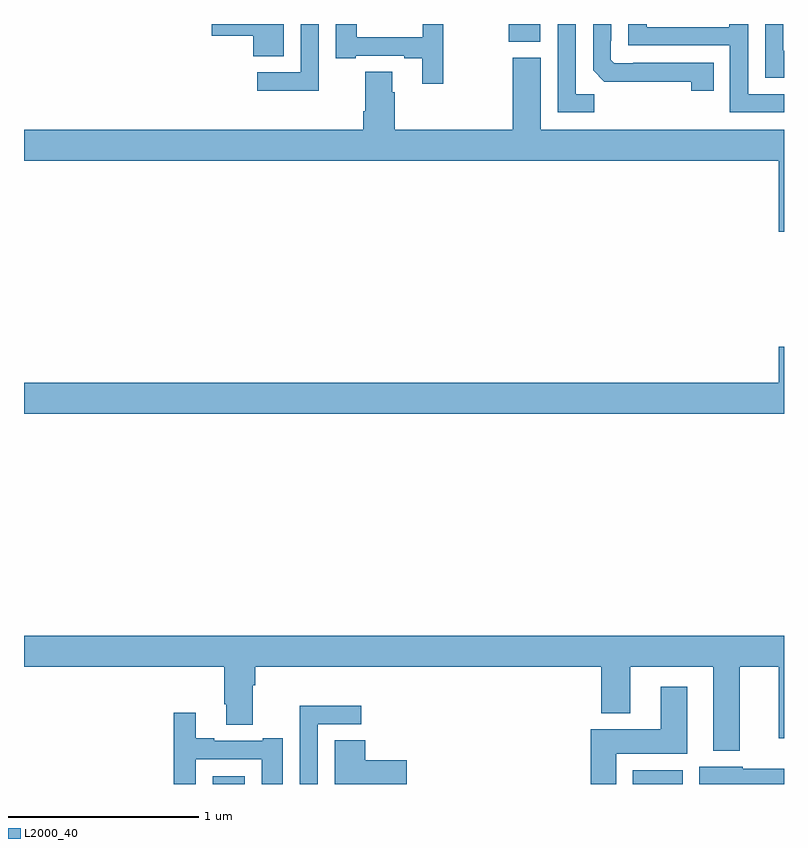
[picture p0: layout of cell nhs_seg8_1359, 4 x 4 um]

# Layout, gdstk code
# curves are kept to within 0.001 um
import gdstk
lib = gdstk.Library(unit=1e-6, precision=1e-09)
def R(c, l, rs):  # rectangles x0, y0, x1, y1
    for r in rs: c.add(gdstk.rectangle(r[:2], r[2:], *l))
def P(c, l, *ps):  # polygons
    for p in ps: c.add(gdstk.Polygon(p, *l))
L2000_40 = (2000, 40)

nhs_seg8_1359 = lib.new_cell('nhs_seg8_1359')
R(nhs_seg8_1359, L2000_40, [(197.993,1099.9,198.163,1099.942), (200.204,1099.9,200.467,1099.972), (199.55,1103.807,199.717,1103.9)])
P(nhs_seg8_1359, L2000_40, [(201,1103.76),(200.997,1103.76),(200.997,1103.9),(200.901,1103.9),(200.901,1103.617),(201,1103.617)],
  [(200.63,1103.697),(200.206,1103.697),(200.206,1103.694),(200.106,1103.694),(200.088,1103.712),(200.088,1103.812),(200.091,1103.812),(200.091,1103.9),(199.995,1103.9),(199.995,1103.656),(200.054,1103.597),(200.512,1103.596),(200.512,1103.55),(200.63,1103.55)],
  [(198.552,1103.9),(198.456,1103.9),(198.456,1103.646),(198.228,1103.646),(198.228,1103.549),(198.552,1103.549)],
  [(198.367,1103.9),(197.988,1103.9),(197.988,1103.837),(198.206,1103.837),(198.206,1103.731),(198.367,1103.731)],
  [(200.001,1103.531),(199.905,1103.531),(199.905,1103.9),(199.809,1103.9),(199.809,1103.436),(200.001,1103.436)],
  [(199.207,1103.9),(199.098,1103.9),(199.098,1103.829),(198.751,1103.829),(198.751,1103.9),(198.641,1103.9),(198.641,1103.721),(198.745,1103.721),(198.745,1103.733),(199.001,1103.733),(199.001,1103.721),(199.097,1103.721),(199.097,1103.586),(199.207,1103.586)],
  [(201,1103.529),(200.811,1103.529),(200.811,1103.9),(200.713,1103.9),(200.713,1103.883),(200.277,1103.883),(200.277,1103.9),(200.181,1103.9),(200.181,1103.787),(200.715,1103.787),(200.715,1103.436),(201,1103.436)],
  [(201,1103.344),(199.72,1103.344),(199.72,1103.722),(199.573,1103.722),(199.573,1103.344),(198.95,1103.344),(198.95,1103.54),(198.937,1103.54),(198.937,1103.648),(198.797,1103.648),(198.797,1103.44),(198.785,1103.44),(198.785,1103.344),(197,1103.344),(197,1103.18),(200.972,1103.18),(200.972,1102.806),(201,1102.806)],
  [(201,1102.201),(200.972,1102.201),(200.972,1102.012),(197,1102.012),(197,1101.848),(201,1101.848)],
  [(200.767,1100.516),(200.972,1100.516),(200.972,1100.142),(201,1100.142),(201,1100.68),(197,1100.68),(197,1100.516),(198.053,1100.516),(198.053,1100.32),(198.065,1100.32),(198.065,1100.212),(198.205,1100.212),(198.205,1100.42),(198.218,1100.42),(198.218,1100.516),(200.039,1100.516),(200.039,1100.273),(200.191,1100.273),(200.191,1100.516),(200.627,1100.516),(200.627,1100.075),(200.767,1100.075)],
  [(200.116,1100.06),(200.491,1100.06),(200.491,1100.413),(200.351,1100.413),(200.351,1100.188),(199.982,1100.188),(199.982,1099.9),(200.116,1099.9)],
  [(198.546,1100.214),(198.775,1100.214),(198.775,1100.312),(198.45,1100.312),(198.45,1099.9),(198.546,1099.9)],
  [(197.904,1100.031),(198.251,1100.031),(198.251,1099.9),(198.361,1099.9),(198.361,1100.14),(198.257,1100.14),(198.257,1100.127),(198.001,1100.127),(198.001,1100.14),(197.905,1100.14),(197.905,1100.275),(197.788,1100.275),(197.788,1099.9),(197.904,1099.9)],
  [(199.015,1100.024),(198.797,1100.024),(198.797,1100.129),(198.635,1100.129),(198.635,1099.9),(199.015,1099.9)],
  [(201,1099.981),(200.784,1099.981),(200.784,1099.99),(200.555,1099.99),(200.555,1099.9),(201,1099.9)])

lib.write_gds('nhs_seg8_1359.gds')
